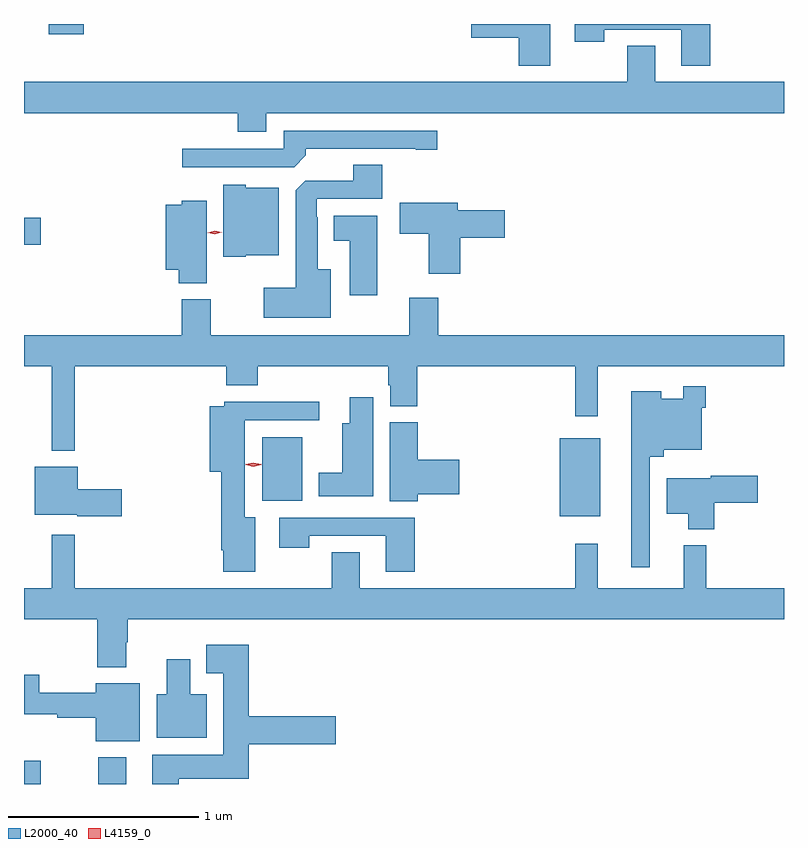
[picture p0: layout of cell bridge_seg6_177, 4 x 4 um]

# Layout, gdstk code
import gdstk
lib = gdstk.Library(unit=1e-6, precision=1e-09)
def R(c, l, rs):  # rectangles x0, y0, x1, y1
    for r in rs: c.add(gdstk.rectangle(r[:2], r[2:], *l))
def P(c, l, *ps):  # polygons
    for p in ps: c.add(gdstk.Polygon(p, *l))
L2000_40 = (2000, 40)
L4159_0 = (4159, 0)

bridge_seg6_177 = lib.new_cell('bridge_seg6_177')
R(bridge_seg6_177, L2000_40, [(337.695,927.821,337.783,927.943), (338.086,927.821,338.233,927.961), (340.514,929.231,340.729,929.641), (338.948,929.312,339.16,929.647), (337.695,930.658,337.783,930.8), (337.826,931.767,338.009,931.821)])
P(bridge_seg6_177, L2000_40, [(341.306,931.821),(340.593,931.821),(340.593,931.728),(340.749,931.728),(340.749,931.791),(341.153,931.791),(341.153,931.602),(341.306,931.602)],
  [(340.465,931.821),(340.05,931.821),(340.05,931.748),(340.298,931.748),(340.298,931.602),(340.465,931.602)],
  [(338.971,931.352),(341.695,931.352),(341.695,931.516),(341.017,931.516),(341.017,931.706),(340.87,931.706),(340.87,931.516),(337.695,931.516),(337.695,931.352),(338.819,931.352),(338.819,931.253),(338.971,931.253)],
  [(339.179,931.13),(339.179,931.164),(339.758,931.164),(339.758,931.159),(339.871,931.159),(339.871,931.26),(339.063,931.26),(339.063,931.164),(338.529,931.164),(338.529,931.068),(339.117,931.068)],
  [(339.31,930.529),(339.241,930.529),(339.241,930.803),(339.237,930.803),(339.237,930.9),(339.581,930.9),(339.581,931.079),(339.428,931.079),(339.428,930.996),(339.174,930.996),(339.125,930.947),(339.125,930.433),(338.958,930.433),(338.958,930.275),(339.31,930.275)],
  [(338.862,930.605),(339.037,930.605),(339.037,930.958),(338.862,930.958),(338.862,930.976),(338.744,930.976),(338.744,930.596),(338.862,930.596)],
  [(338.656,930.892),(338.526,930.892),(338.526,930.871),(338.441,930.871),(338.441,930.527),(338.51,930.527),(338.51,930.457),(338.656,930.457)],
  [(339.992,930.695),(340.225,930.695),(340.225,930.842),(339.979,930.842),(339.979,930.88),(339.672,930.88),(339.672,930.718),(339.824,930.718),(339.824,930.507),(339.992,930.507)],
  [(339.553,930.811),(339.326,930.811),(339.326,930.68),(339.41,930.68),(339.41,930.393),(339.553,930.393)],
  [(337.963,930.02),(338.759,930.02),(338.759,929.921),(338.924,929.921),(338.924,930.02),(339.611,930.02),(339.611,929.919),(339.623,929.919),(339.623,929.809),(339.764,929.809),(339.764,930.02),(340.597,930.02),(340.597,929.757),(340.714,929.757),(340.714,930.02),(341.695,930.02),(341.695,930.184),(339.875,930.184),(339.875,930.379),(339.722,930.379),(339.722,930.184),(338.677,930.184),(338.677,930.372),(338.525,930.372),(338.525,930.184),(337.695,930.184),(337.695,930.02),(337.841,930.02),(337.841,929.576),(337.963,929.576)],
  [(340.989,929.543),(341.063,929.543),(341.063,929.579),(341.262,929.579),(341.262,929.801),(341.282,929.801),(341.282,929.914),(341.166,929.914),(341.166,929.848),(341.05,929.848),(341.05,929.887),(340.892,929.887),(340.892,928.962),(340.989,928.962)],
  [(339.532,929.857),(339.41,929.857),(339.41,929.719),(339.371,929.719),(339.371,929.458),(339.245,929.458),(339.245,929.336),(339.532,929.336)],
  [(338.911,929.224),(338.857,929.224),(338.857,929.736),(339.25,929.736),(339.25,929.834),(338.748,929.834),(338.748,929.809),(338.672,929.809),(338.672,929.465),(338.732,929.465),(338.732,929.05),(338.744,929.05),(338.744,928.938),(338.911,928.938)],
  [(339.767,929.345),(339.985,929.345),(339.985,929.528),(339.767,929.528),(339.767,929.724),(339.62,929.724),(339.62,929.308),(339.767,929.308)],
  [(338.209,929.372),(337.978,929.372),(337.978,929.491),(337.751,929.491),(337.751,929.237),(337.974,929.237),(337.974,929.23),(338.209,929.23)],
  [(341.327,929.302),(341.557,929.302),(341.557,929.444),(341.31,929.444),(341.31,929.431),(341.078,929.431),(341.078,929.243),(341.192,929.243),(341.192,929.162),(341.327,929.162)],
  [(339.752,929.223),(339.039,929.223),(339.039,929.064),(339.195,929.064),(339.195,929.127),(339.599,929.127),(339.599,928.938),(339.752,928.938)],
  [(338.233,928.568),(338.241,928.568),(338.241,928.688),(341.695,928.688),(341.695,928.852),(341.285,928.852),(341.285,929.077),(341.168,929.077),(341.168,928.852),(340.715,928.852),(340.715,929.086),(340.597,929.086),(340.597,928.852),(339.463,928.852),(339.463,929.042),(339.316,929.042),(339.316,928.852),(337.963,928.852),(337.963,929.134),(337.841,929.134),(337.841,928.852),(337.695,928.852),(337.695,928.688),(338.081,928.688),(338.081,928.436),(338.233,928.436)],
  [(338.509,927.848),(338.879,927.848),(338.879,928.031),(339.337,928.031),(339.337,928.178),(338.879,928.178),(338.879,928.555),(338.654,928.555),(338.654,928.403),(338.744,928.403),(338.744,927.976),(338.369,927.976),(338.369,927.821),(338.509,927.821)],
  [(338.656,928.294),(338.569,928.294),(338.569,928.477),(338.447,928.477),(338.447,928.294),(338.393,928.294),(338.393,928.064),(338.656,928.064)],
  [(338.305,928.351),(338.072,928.351),(338.072,928.3),(337.774,928.3),(337.774,928.395),(337.695,928.395),(337.695,928.189),(337.87,928.189),(337.87,928.171),(338.072,928.171),(338.072,928.046),(338.305,928.046)])
P(bridge_seg6_177, L4159_0, [(338.902,929.492),(338.861,929.502),(338.861,929.502),(338.861,929.503),(338.902,929.512),(338.943,929.503),(338.943,929.502),(338.943,929.502)],
  [(338.7,930.714),(338.663,930.723),(338.663,930.723),(338.663,930.723),(338.7,930.734),(338.737,930.725),(338.737,930.724),(338.737,930.724)])

lib.write_gds('bridge_seg6_177.gds')
